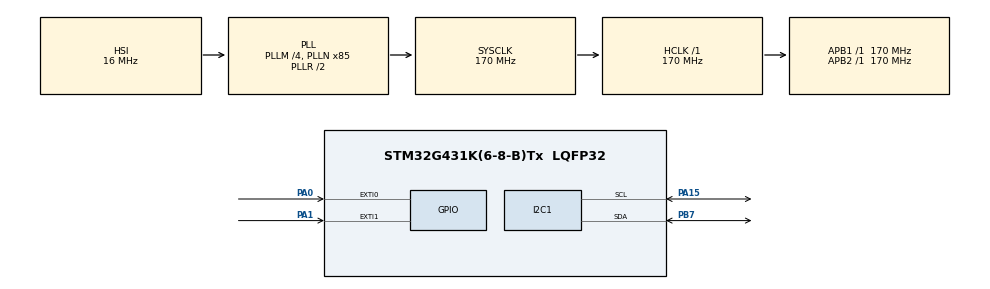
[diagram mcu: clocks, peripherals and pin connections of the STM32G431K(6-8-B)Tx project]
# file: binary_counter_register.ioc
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I2C1.Timing=0x40B285C2
Mcu.Family=STM32G4
Mcu.Name=STM32G431K(6-8-B)Tx
Mcu.Package=LQFP32
NUCLEO-G431KB.Bsp_Common_DEMO=true
NUCLEO-G431KB.LD2=true
NUCLEO-G431KB.VCP=true
NVIC.EXTI0_IRQn=true\:0\:0\:false\:true\:true\:1\:true\:true\:true
NVIC.EXTI1_IRQn=true\:0\:0\:false\:false\:true\:true\:true\:true
NVIC.PriorityGroup=NVIC_PRIORITYGROUP_4
PA0.GPIO_ModeDefaultEXTI=GPIO_MODE_IT_FALLING
PA0.GPIO_PuPd=GPIO_NOPULL
PA0.Signal=GPXTI0
PA1.GPIO_ModeDefaultEXTI=GPIO_MODE_IT_FALLING
PA1.Signal=GPXTI1
PA13.GPIO_Label=T_SWDIO
PA13.Mode=Trace_Asynchronous_SW
PA13.Signal=SYS_JTMS-SWDIO
PA14.GPIO_Label=T_SWCLK
PA14.Mode=Trace_Asynchronous_SW
PA14.Signal=SYS_JTCK-SWCLK
PA15.GPIO_Pu=GPIO_PULLUP
PA15.Mode=I2C
PA15.Signal=I2C1_SCL
PA2.Signal=USART2_TX
PA3.Signal=USART2_RX
PB3.Mode=Trace_Asynchronous_SW
PB3.Signal=SYS_JTDO-SWO
PB7.GPIO_Pu=GPIO_PULLUP
PB7.Mode=I2C
PB7.Signal=I2C1_SDA
ProjectManager.HeapSize=0x200
ProjectManager.StackSize=0x400
ProjectManager.TargetToolchain=STM32CubeIDE
RCC.ADC12Freq_Value=170000000
RCC.AHBFreq_Value=170000000
RCC.APB1Freq_Value=170000000
RCC.APB1TimFreq_Value=170000000
RCC.APB2Freq_Value=170000000
RCC.APB2TimFreq_Value=170000000
RCC.CortexFreq_Value=170000000
RCC.EXTERNAL_CLOCK_VALUE=12288000
RCC.HCLKFreq_Value=170000000
RCC.HSE_VALUE=8000000
RCC.HSI48_VALUE=48000000
RCC.HSI_VALUE=16000000
RCC.LSE_VALUE=32768
RCC.PLLM=RCC_PLLM_DIV4
RCC.PLLN=85
RCC.SYSCLKFreq_VALUE=170000000
RCC.SYSCLKSource=RCC_SYSCLKSOURCE_PLLCLK
RCC.USBFreq_Value=170000000
RCC.VCOOutputFreq_Value=340000000
VP_NUCLEO-G431KB_VS_BSP_COMMON.Mode=COMMON
VP_SYS_VS_DBSignals.Mode=DisableDeadBatterySignals
board=NUCLEO-G431KB

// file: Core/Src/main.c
/* USER CODE BEGIN Header */
/**
  ******************************************************************************
  * @file           : main.c
  * @brief          : Main program body
  ******************************************************************************
  * @attention
  *
  * Copyright (c) 2026 STMicroelectronics.
  * All rights reserved.
  *
  * This software is licensed under terms that can be found in the LICENSE file
  * in the root directory of this software component.
  * If no LICENSE file comes with this software, it is provided AS-IS.
  *
  ******************************************************************************
  */
/* USER CODE END Header */
#include "main.h"
#include "i2c.h"
#include "gpio.h"

COM_InitTypeDef BspCOMInit;

/* USER CODE BEGIN PV */
// static const uint8_t HUM_ADDR = 0x44 << 1;
// static const uint8_t LIS3DH_ADDR = 0x18 << 1;
// static const uint8_t DISPLAY_ADDR = 0x3C << 1;
// static const uint8_t TEMP_ADDR = 0x48 << 1;
// static const uint8_t BMP280_ADDR 0x77 << 1
// static const uint8_t AHT20_ADDR 0x38 << 1

unsigned int countUp = 0;
unsigned int countDown = 0x1F;
int j = 0;
int sw = 0;
/* USER CODE END PV */

void SystemClock_Config(void);
static void MX_NVIC_Init(void);

int main(void)
{

  /* MCU Configuration--------------------------------------------------------*/

  /* Reset of all peripherals, Initializes the Flash interface and the Systick. */
  HAL_Init();

  /* Configure the system clock */
  SystemClock_Config();

  /* Initialize all configured peripherals */
  MX_GPIO_Init();
  MX_I2C1_Init();

  /* Initialize interrupts */
  MX_NVIC_Init();

  /* Initialize leds */
  BSP_LED_Init(LED_GREEN);

  /* Initialize COM1 port (115200, 8 bits (7-bit data + 1 stop bit), no parity */
  BspCOMInit.BaudRate   = 115200;
  BspCOMInit.WordLength = COM_WORDLENGTH_8B;
  BspCOMInit.StopBits   = COM_STOPBITS_1;
  BspCOMInit.Parity     = COM_PARITY_NONE;
  BspCOMInit.HwFlowCtl  = COM_HWCONTROL_NONE;
  if (BSP_COM_Init(COM1, &BspCOMInit) != BSP_ERROR_NONE)
  {
    Error_Handler();
  }

  /* USER CODE BEGIN BSP */

  /* -- Sample board code to send message over COM1 port ---- */
  printf("Welcome to STM32 world !\n\r");

  /* -- Sample board code to switch on leds ---- */
  BSP_LED_On(LED_GREEN);

  /* USER CODE END BSP */

  /* Infinite loop */
  /* USER CODE BEGIN WHILE */
 GPIO_Config();

  while (1)
  {

/* -- Sample board code to toggle leds ---- */
       BSP_LED_Toggle(LED_GREEN);

    /* USER CODE END WHILE */

    /* USER CODE BEGIN 3 */
       sw = (GPIOB->IDR & (3UL << 1)) >> 1;

       switch(sw){
       case 0:
    	   while(j < 3){
//    		   bit set register: write GPIO_PIN_8 high
    		   GPIOB->ODR = 31UL<<8;
    		   HAL_Delay(100);
//    		   bit reset register: write GPIO_PIN_8 low
    		   GPIOB->ODR = 0;
    		   HAL_Delay(100);
    		   j++;
    	   }
    	   GPIOB->ODR = 0;
    	   break;
       case 1:
    	   if (countUp < 5){

    		   GPIOB->ODR = countDown<<8;
    		   HAL_Delay(1000);
    		   countUp++;
    	   } else {
    		   countUp = 0;
    		   HAL_Delay(2000);
    	   }
    	   j = 0;
    	   break;
       case 2:
    	   if (countDown > 0){

    		   GPIOB->ODR |= countDown<<8;
    		   HAL_Delay(1000);
    		   countDown--;
    	   } else {
    		   countDown = 0x1F;
    		   HAL_Delay(2000);
    	   }
    	   j = 0;
    	   break;
       case 3:
    	   break;
       default:
    	   break;
       }
  }
  /* USER CODE END 3 */
}

void SystemClock_Config(void)
{
  RCC_OscInitTypeDef RCC_OscInitStruct = {0};
  RCC_ClkInitTypeDef RCC_ClkInitStruct = {0};

  /** Configure the main internal regulator output voltage
  */
  HAL_PWREx_ControlVoltageScaling(PWR_REGULATOR_VOLTAGE_SCALE1_BOOST);

  /** Initializes the RCC Oscillators according to the specified parameters
  * in the RCC_OscInitTypeDef structure.
  */
  RCC_OscInitStruct.OscillatorType = RCC_OSCILLATORTYPE_HSI;
  RCC_OscInitStruct.HSIState = RCC_HSI_ON;
  RCC_OscInitStruct.HSICalibrationValue = RCC_HSICALIBRATION_DEFAULT;
  RCC_OscInitStruct.PLL.PLLState = RCC_PLL_ON;
  RCC_OscInitStruct.PLL.PLLSource = RCC_PLLSOURCE_HSI;
  RCC_OscInitStruct.PLL.PLLM = RCC_PLLM_DIV4;
  RCC_OscInitStruct.PLL.PLLN = 85;
  RCC_OscInitStruct.PLL.PLLP = RCC_PLLP_DIV2;
  RCC_OscInitStruct.PLL.PLLQ = RCC_PLLQ_DIV2;
  RCC_OscInitStruct.PLL.PLLR = RCC_PLLR_DIV2;
  if (HAL_RCC_OscConfig(&RCC_OscInitStruct) != HAL_OK)
  {
    Error_Handler();
  }

  /** Initializes the CPU, AHB and APB buses clocks
  */
  RCC_ClkInitStruct.ClockType = RCC_CLOCKTYPE_HCLK|RCC_CLOCKTYPE_SYSCLK
                              |RCC_CLOCKTYPE_PCLK1|RCC_CLOCKTYPE_PCLK2;
  RCC_ClkInitStruct.SYSCLKSource = RCC_SYSCLKSOURCE_PLLCLK;
  RCC_ClkInitStruct.AHBCLKDivider = RCC_SYSCLK_DIV1;
  RCC_ClkInitStruct.APB1CLKDivider = RCC_HCLK_DIV1;
  RCC_ClkInitStruct.APB2CLKDivider = RCC_HCLK_DIV1;

  if (HAL_RCC_ClockConfig(&RCC_ClkInitStruct, FLASH_LATENCY_4) != HAL_OK)
  {
    Error_Handler();
  }
}

/**
  * @brief NVIC Configuration.
  * @retval None
  */
static void MX_NVIC_Init(void)
{
  /* EXTI0_IRQn interrupt configuration */
  HAL_NVIC_SetPriority(EXTI0_IRQn, 0, 0);
  HAL_NVIC_EnableIRQ(EXTI0_IRQn);
}

/* USER CODE BEGIN 4 */

void HAL_GPIO_EXTI_Callback(uint16_t GPIO_Pin){
	if (GPIO_Pin == GPIO_PIN_0){
//		HAL_GPIO_WritePin(GPIOB, GPIO_PIN_8, GPIO_PIN_SET);
		HAL_GPIO_TogglePin(GPIOA, GPIO_PIN_0);
		printf("But_press\r\n");
	} else {
		__NOP();
	}
}

void GPIO_Config(void){
	RCC->AHB2ENR |= (1UL<<1) | (1UL<<1) | (1UL<<2) | (1UL<<3) | (1UL<<4);
	GPIOA->MODER |= 1UL<<16;
	GPIOA->OTYPER &= ~(0x100 << 8);
	GPIOA->MODER = 0x00;
	GPIOA->PUPDR |= (1UL<<1) | (1UL<<3);
}

// LED pin PA4, PA5, PA6, PA7, PA8 configuration
void GPIO_led_Config(void){

	RCC->AHB2ENR |= (1UL<<1);
	//	set pin mode as output
	GPIOA->MODER |= 1UL<<16;
//	output register configuration
	GPIOA->OTYPER &= ~(0x100 << 8);
}

// Button PA0, PA1 configuration

void GPIO_button_Config(void){
// enable clock on gpio pins (Bit 0 GPIOAEN: IO port A clock enable)
//	Todo: fix the bug that mcu lost connection when enable ahb2enr
	RCC->AHB2ENR |= (1UL<<0);
//	set pin mode as input
	GPIOA->MODER = 0x00;

//	 set pull down to avoid noise
	GPIOA->PUPDR |= (1UL<<1) | (1UL<<3);

}

/* USER CODE END 4 */

/* USER CODE BEGIN Header */
/**
  ******************************************************************************
  * @file           : main.c
  * @brief          : Main program body
  ******************************************************************************
  * @attention
  *
  * Copyright (c) 2026 STMicroelectronics.
  * All rights reserved.
  *
  * This software is licensed under terms that can be found in the LICENSE file
  * in the root directory of this software component.
  * If no LICENSE file comes with this software, it is provided AS-IS.
  *
  ******************************************************************************
  */
/* USER CODE END Header */

void Error_Handler(void)
{
  __disable_irq();
  while (1)
  {
  }
}
